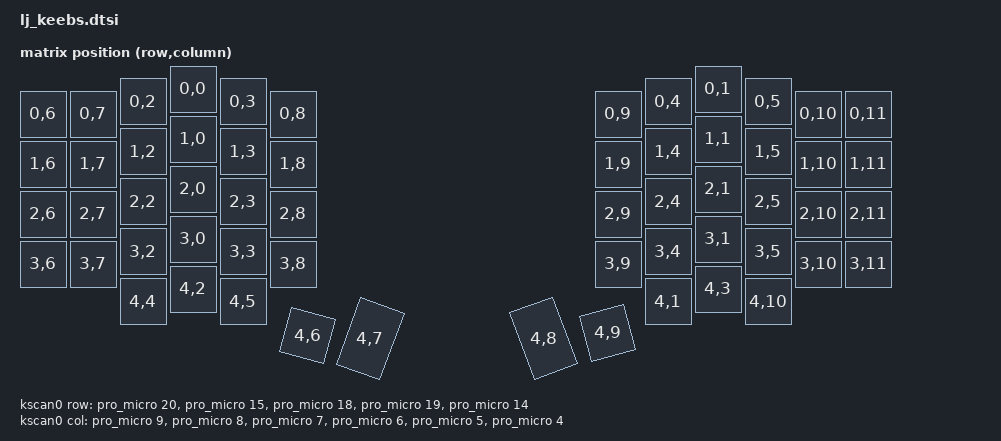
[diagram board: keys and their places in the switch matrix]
#include <dt-bindings/zmk/matrix_transform.h>
#include <physical_layouts.dtsi>

/ {
    chosen {
        zmk,kscan = &kscan0;
        zmk,matrix_transform = &default_transform;
        zmk,physical-layout = &default_layout;
    };

    default_layout: default_layout {
        compatible = "zmk,physical-layout";
        display-name = "layout";

        keys  //                     w   h    x    y     rot    rx    ry
            = <&key_physical_attrs 100 100  300    0       0     0     0>
            , <&key_physical_attrs 100 100 1350    0       0     0     0>
            , <&key_physical_attrs 100 100  200   25       0     0     0>
            , <&key_physical_attrs 100 100  400   25       0     0     0>
            , <&key_physical_attrs 100 100 1250   25       0     0     0>
            , <&key_physical_attrs 100 100 1450   25       0     0     0>
            , <&key_physical_attrs 100 100    0   50       0     0     0>
            , <&key_physical_attrs 100 100  100   50       0     0     0>
            , <&key_physical_attrs 100 100  500   50       0     0     0>
            , <&key_physical_attrs 100 100 1150   50       0     0     0>
            , <&key_physical_attrs 100 100 1550   50       0     0     0>
            , <&key_physical_attrs 100 100 1650   50       0     0     0>
            , <&key_physical_attrs 100 100  300  100       0     0     0>
            , <&key_physical_attrs 100 100 1350  100       0     0     0>
            , <&key_physical_attrs 100 100  200  125       0     0     0>
            , <&key_physical_attrs 100 100  400  125       0     0     0>
            , <&key_physical_attrs 100 100 1250  125       0     0     0>
            , <&key_physical_attrs 100 100 1450  125       0     0     0>
            , <&key_physical_attrs 100 100    0  150       0     0     0>
            , <&key_physical_attrs 100 100  100  150       0     0     0>
            , <&key_physical_attrs 100 100  500  150       0     0     0>
            , <&key_physical_attrs 100 100 1150  150       0     0     0>
            , <&key_physical_attrs 100 100 1550  150       0     0     0>
            , <&key_physical_attrs 100 100 1650  150       0     0     0>
            , <&key_physical_attrs 100 100  300  200       0     0     0>
            , <&key_physical_attrs 100 100 1350  200       0     0     0>
            , <&key_physical_attrs 100 100  200  225       0     0     0>
            , <&key_physical_attrs 100 100  400  225       0     0     0>
            , <&key_physical_attrs 100 100 1250  225       0     0     0>
            , <&key_physical_attrs 100 100 1450  225       0     0     0>
            , <&key_physical_attrs 100 100    0  250       0     0     0>
            , <&key_physical_attrs 100 100  100  250       0     0     0>
            , <&key_physical_attrs 100 100  500  250       0     0     0>
            , <&key_physical_attrs 100 100 1150  250       0     0     0>
            , <&key_physical_attrs 100 100 1550  250       0     0     0>
            , <&key_physical_attrs 100 100 1650  250       0     0     0>
            , <&key_physical_attrs 100 100  300  300       0     0     0>
            , <&key_physical_attrs 100 100 1350  300       0     0     0>
            , <&key_physical_attrs 100 100  200  325       0     0     0>
            , <&key_physical_attrs 100 100  400  325       0     0     0>
            , <&key_physical_attrs 100 100 1250  325       0     0     0>
            , <&key_physical_attrs 100 100 1450  325       0     0     0>
            , <&key_physical_attrs 100 100    0  350       0     0     0>
            , <&key_physical_attrs 100 100  100  350       0     0     0>
            , <&key_physical_attrs 100 100  500  350       0     0     0>
            , <&key_physical_attrs 100 100 1150  350       0     0     0>
            , <&key_physical_attrs 100 100 1550  350       0     0     0>
            , <&key_physical_attrs 100 100 1650  350       0     0     0>
            , <&key_physical_attrs 100 100  300  400       0     0     0>
            , <&key_physical_attrs 100 100 1350  400       0     0     0>
            , <&key_physical_attrs 100 100  200  425       0     0     0>
            , <&key_physical_attrs 100 100  400  425       0     0     0>
            , <&key_physical_attrs 100 100 1250  425       0     0     0>
            , <&key_physical_attrs 100 100 1450  425       0     0     0>
            , <&key_physical_attrs 100 100  650  325    1500     0     0>
            , <&key_physical_attrs 100 150  800  200    2000     0     0>
            , <&key_physical_attrs 100 150  750  800 (-2000)     0     0>
            , <&key_physical_attrs 100 100  950  775 (-1500)     0     0>
            ;
    };

    position_map {
        compatible = "zmk,physical-layout-position-map";

        default_layout {
            physical-layout = <&default_layout>;
            positions
                = < 6  7  2  0  3  8          9  4  1  5 10 11>
                , <18 19 14 12 15 20         21 16 13 17 22 23>
                , <30 31 26 24 27 32         33 28 25 29 34 35>
                , <42 43 38 36 39 44         45 40 37 41 46 47>
                ,       <50 48 51 54 55   56 57 52 49 53>
                ;
        };
    };

    default_transform: keymap_transform_0 {
        compatible = "zmk,matrix_transform";
        columns = <12>;
        rows = <5>;

//  Layout with switch IDs (refer to schematic)
//  | SW04 | SW08 | SW13 | SW18 | SW23 | SW27 |      |           |      | SW27 | SW23 | SW18 | SW13 | SW08 | SW04 |  
//  | SW03 | SW07 | SW12 | SW17 | SW22 | SW26 |      |           |      | SW26 | SW22 | SW17 | SW12 | SW07 | SW03 | 
//  | SW02 | SW06 | SW11 | SW16 | SW21 | SW25 |      |           |      | SW25 | SW21 | SW16 | SW11 | SW06 | SW02 | 
//  | SW01 | SW05 | SW10 | SW15 | SW20 | SW24 |      |           |      | SW24 | SW20 | SW15 | SW10 | SW05 | SW01 | 
//  |      |      | SW09 | SW14 | SW19 | SW29 | SW28 |           | SW28 | SW29 | SW19 | SW14 | SW09 |      |      | 
// Notes:
// SW28 is assigned to R4, C1, SW29 is assigned to R4C5
        map = <
RC(0, 0) RC(0, 1) RC(0, 2) RC(0, 3) RC(0, 4) RC(0, 5)                        RC(0, 6) RC(0, 7) RC(0, 8) RC(0, 9)  RC(0, 10) RC(0, 11)
RC(1, 0) RC(1, 1) RC(1, 2) RC(1, 3) RC(1, 4) RC(1, 5)                        RC(1, 6) RC(1, 7) RC(1, 8) RC(1, 9)  RC(1, 10) RC(1, 11)
RC(2, 0) RC(2, 1) RC(2, 2) RC(2, 3) RC(2, 4) RC(2, 5)                        RC(2, 6) RC(2, 7) RC(2, 8) RC(2, 9)  RC(2, 10) RC(2, 11)
RC(3, 0) RC(3, 1) RC(3, 2) RC(3, 3) RC(3, 4) RC(3, 5)                        RC(3, 6) RC(3, 7) RC(3, 8) RC(3, 9)  RC(3, 10) RC(3, 11)
                  RC(4, 2) RC(4, 3) RC(4, 4) RC(4, 5) RC(4, 1)     RC(4, 10) RC(4, 6) RC(4, 7) RC(4, 8) RC(4, 9)          
        >;
    };

    kscan0: kscan {
        compatible = "zmk,kscan-gpio-matrix";
        wakeup-source;

        diode-direction = "col2row";
        kscan0: kscan {
        compatible = "zmk,kscan-gpio-matrix";
        wakeup-source;

        row-gpios
            = <&pro_micro 20 (GPIO_PULL_DOWN | GPIO_ACTIVE_HIGH)>
            , <&pro_micro 15 (GPIO_PULL_DOWN | GPIO_ACTIVE_HIGH)>
            , <&pro_micro 18 (GPIO_PULL_DOWN | GPIO_ACTIVE_HIGH)>
            , <&pro_micro 19 (GPIO_PULL_DOWN | GPIO_ACTIVE_HIGH)>
            , <&pro_micro 14 (GPIO_PULL_DOWN | GPIO_ACTIVE_HIGH)>
            ;
        col-gpios
            = <&pro_micro 9 GPIO_ACTIVE_HIGH>
            , <&pro_micro 8 GPIO_ACTIVE_HIGH>
            , <&pro_micro 7 GPIO_ACTIVE_HIGH>
            , <&pro_micro 6 GPIO_ACTIVE_HIGH>
            , <&pro_micro 5 GPIO_ACTIVE_HIGH>
            , <&pro_micro 4 GPIO_ACTIVE_HIGH>
            ;
    };
};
